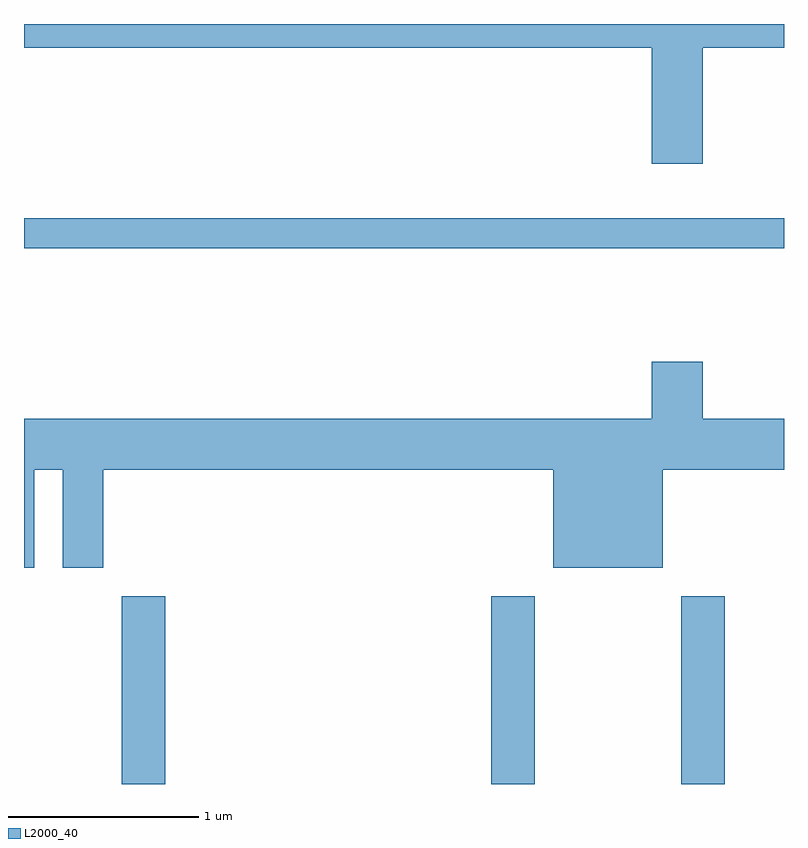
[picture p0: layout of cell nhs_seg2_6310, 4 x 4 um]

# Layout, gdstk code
import gdstk
lib = gdstk.Library(unit=1e-6, precision=1e-09)
def R(c, l, rs):  # rectangles x0, y0, x1, y1
    for r in rs: c.add(gdstk.rectangle(r[:2], r[2:], *l))
def P(c, l, *ps):  # polygons
    for p in ps: c.add(gdstk.Polygon(p, *l))
L2000_40 = (2000, 40)

nhs_seg2_6310 = lib.new_cell('nhs_seg2_6310')
R(nhs_seg2_6310, L2000_40, [(372.126,1017.802,372.354,1018.789), (374.071,1017.802,374.299,1018.789), (375.071,1017.802,375.299,1018.789), (371.611,1020.621,375.611,1020.779)])
P(nhs_seg2_6310, L2000_40, [(375.184,1021.676),(375.611,1021.676),(375.611,1021.802),(371.611,1021.802),(371.611,1021.676),(374.916,1021.676),(374.916,1021.066),(375.184,1021.066)],
  [(371.664,1019.456),(371.816,1019.456),(371.816,1018.941),(372.029,1018.941),(372.029,1019.456),(374.396,1019.456),(374.396,1018.941),(374.974,1018.941),(374.974,1019.456),(375.611,1019.456),(375.611,1019.724),(375.184,1019.724),(375.184,1020.024),(374.916,1020.024),(374.916,1019.724),(371.611,1019.724),(371.611,1018.941),(371.664,1018.941)])

lib.write_gds('nhs_seg2_6310.gds')
